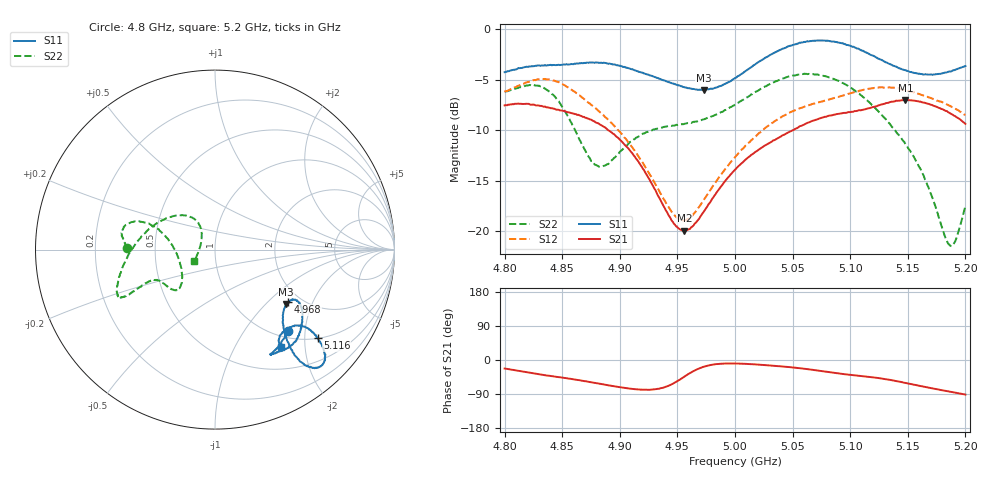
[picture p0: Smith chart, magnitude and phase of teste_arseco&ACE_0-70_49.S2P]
! Network Analyzer HP8722D
! Hewlett-Packard
! Data name: Linha & Wilkinson
! Saver's name: Rodrigo Anjos
! Comments: Teste da utilização de aquisição
! continua pelo VNA HP8722D
! Time and date: 8/5/2025 13:10
!  Frequency  S11  S21  S12  S22
# HZ  S  MA R 50
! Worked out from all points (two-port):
!   401 points, 4.8 GHz to 5.2 GHz, reference 50 ohm
!   highest |S21| = -7.03 dB at 5.148 GHz (marker M1); lowest = -20.0 dB at 4.956 GHz (marker M2)
!   |S21| within 3 dB of the highest: start of sweep to 4.89 GHz; 5.05 GHz to end of sweep
!   lowest |S11| = -6.0 dB at 4.973 GHz (marker M3), VSWR 2.99, Z = 82.2 - j66.5 ohm
!   |S11| at or under -10 dB: nowhere
!   |S22| runs from -21.5 to -4.4 dB; largest |S21 - S12| = 0.95
!   S11 on the Smith chart (normalised r, x): 4.8 GHz: 1.12, -1.63; 4.968 GHz: 1.72, -1.33; 5.116 GHz: 1.00, -2.31; 5.2 GHz: 0.82, -1.56
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4.8e9  0.6119 -48.1  0.4188 -22.5  0.4898 -176.6  0.489 179.0
4.823e9  0.6537 -59.7  0.4222 -34.2  0.5517 174.9  0.5251 169.5
4.837e9  0.6609 -62.0  0.41 -41.1  0.563 166.4  0.4977 162.6
4.851e9  0.6682 -60.1  0.3933 -47.0  0.5304 157.6  0.4057 159.0
4.867e9  0.6789 -55.2  0.3704 -54.6  0.4591 149.9  0.2687 167.3
4.884e9  0.6812 -49.4  0.3339 -63.6  0.3817 143.7  0.2088 -161.1
4.91e9  0.633 -40.1  0.2457 -76.1  0.2633 137.0  0.2775 -133.3
4.934e9  0.5686 -33.0  0.1471 -75.8  0.1588 141.6  0.3222 -136.0
4.956e9  0.5152 -32.9  0.1003 -43.9  0.113 174.1  0.3394 -145.0
4.968e9  0.4998 -35.6  0.1139 -23.5  0.1298 -165.4  0.351 -149.9
4.973e9  0.4991 -37.5  0.1249 -17.8  0.1429 -159.7  0.3574 -151.3
5e9  0.5715 -48.0  0.2012 -9.2  0.2322 -147.3  0.4231 -154.2
5.039e9  0.788 -52.6  0.2923 -16.6  0.3633 -148.6  0.5609 -152.4
5.067e9  0.8742 -48.7  0.3508 -25.7  0.4256 -155.2  0.5983 -155.7
5.094e9  0.848 -43.5  0.3844 -37.1  0.4693 -162.8  0.5391 -166.5
5.116e9  0.7555 -40.8  0.4053 -44.6  0.506 -173.0  0.4368 174.3
5.134e9  0.6717 -40.4  0.4336 -52.1  0.515 176.3  0.3416 152.2
5.148e9  0.6253 -42.6  0.4451 -60.6  0.4977 168.5  0.269 134.8
5.164e9  0.5959 -47.9  0.4324 -70.5  0.4679 161.0  0.1867 122.7
5.186e9  0.6158 -54.8  0.3853 -83.2  0.4176 153.2  0.08566 157.9
5.191e9  0.6283 -55.4  0.3708 -86.1  0.4046 151.6  0.08863 -178.5
5.2e9  0.6558 -56.0  0.3395 -91.2  0.3752 148.8  0.1331 -150.6
